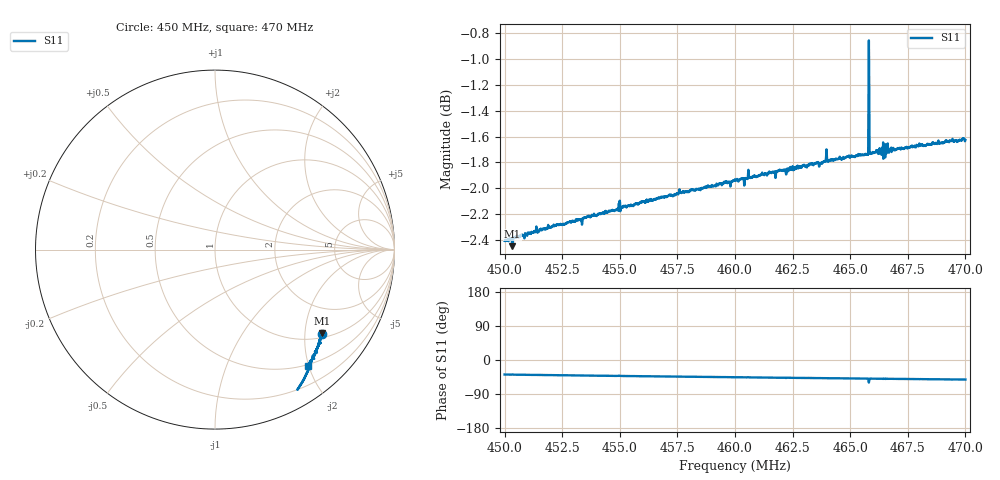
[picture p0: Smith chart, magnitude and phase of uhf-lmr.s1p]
! Calibrated averaged scanner-service zoom
# Hz S RI R 50
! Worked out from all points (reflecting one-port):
!   2001 points, 450 MHz to 470 MHz, reference 50 ohm
!   lowest |S11| = -2.4 dB at 450.34 MHz (marker M1), VSWR 7.15, Z = 56.5 - j122 ohm
!   phase of S11 starts at -38 deg and turns -13 deg over the sweep
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4.5e8  0.5945 -0.4705
4.5034e8  0.5942 -0.4651
4.5099e8  0.5915 -0.4812
4.525e8  0.5866 -0.4974
4.5484e8  0.5795 -0.5209
4.5491e8  0.5797 -0.5223
4.55e8  0.5878 -0.5213
4.5512e8  0.5785 -0.5243
4.575e8  0.5705 -0.5471
4.5974e8  0.5614 -0.5677
4.6e8  0.5608 -0.5716
4.6066e8  0.5579 -0.5757
4.6217e8  0.5517 -0.5891
4.625e8  0.552 -0.593
4.6374e8  0.5451 -0.6027
4.6391e8  0.545 -0.6045
4.65e8  0.5396 -0.6132
4.6568e8  0.5367 -0.6184
4.6569e8  0.5369 -0.6184
4.6572e8  0.5367 -0.6185
4.6573e8  0.537 -0.6183
4.6589e8  0.5357 -0.6199
4.659e8  0.5362 -0.6202
4.6593e8  0.5358 -0.6201
4.6594e8  0.5353 -0.6205
4.675e8  0.5282 -0.6314
4.694e8  0.5189 -0.646
4.7e8  0.5157 -0.6493
